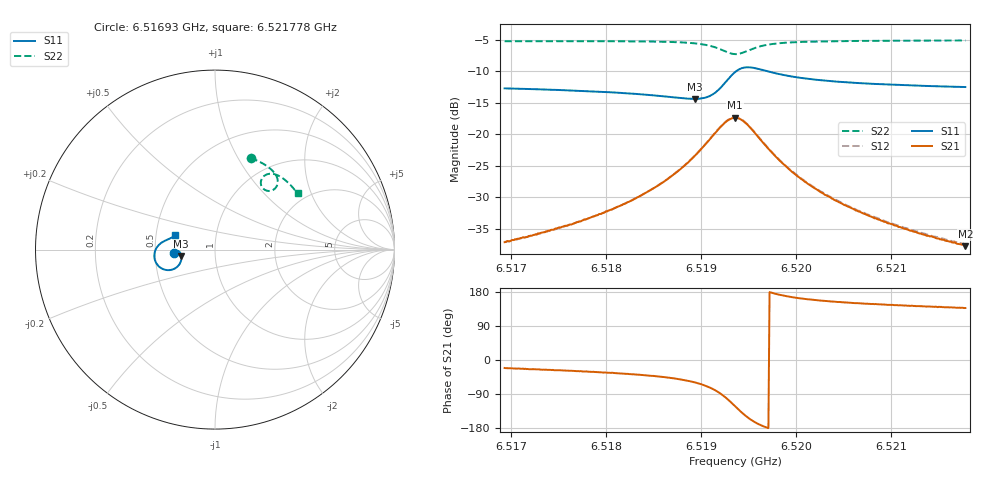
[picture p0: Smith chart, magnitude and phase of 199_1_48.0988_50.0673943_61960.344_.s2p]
#  HZ  S  RI  R  50.00
! Rohde & Schwarz Vector Network Analyzer
! Rohde-Schwarz,ZNB20-2Port,1311601062101988,3.16
! Created: UTC 12/23/2023, 3:54:33 AM
! freq[Hz]  re:S11  im:S11  re:S21  im:S21  re:S12  im:S12  re:S22  im:S22
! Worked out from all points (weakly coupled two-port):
!   401 points, 6.51693 GHz to 6.521778 GHz, reference 50 ohm
!   highest |S21| = -17.39 dB at 6.519354 GHz (marker M1); lowest = -37.8 dB at 6.521778 GHz (marker M2)
!   lowest |S11| = -14.4 dB at 6.51893 GHz (marker M3), VSWR 1.47, Z = 34.1 - j2.47 ohm
!   |S11| at or under -10 dB: start of sweep to 6.519365 GHz; 6.519697 GHz to end of sweep
!   |S22| runs from -7.3 to -5.1 dB; largest |S21 - S12| = 0.0042
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6.5169298e9  -0.2307 -0.0184  0.0129 -0.00498  0.0132 -0.00463  0.1982 0.5111
6.5173055e9  -0.2269 -0.0127  0.0148 -0.00703  0.0149 -0.0064  0.226 0.4998
6.5177419e9  -0.2208 -0.00748  0.0178 -0.0102  0.0182 -0.00965  0.2583 0.484
6.5182025e9  -0.2119 -0.00509  0.0227 -0.0167  0.0233 -0.016  0.2929 0.4625
6.518554e9  -0.2017 -0.00926  0.0285 -0.0273  0.0296 -0.0265  0.32 0.44
6.51876e9  -0.1938 -0.0183  0.0327 -0.0396  0.0341 -0.0387  0.3357 0.4208
6.5189297e9  -0.1877 -0.0349  0.0346 -0.0576  0.0366 -0.0568  0.347 0.3976
6.5190388e9  -0.1873 -0.054  0.0315 -0.0761  0.0341 -0.0757  0.3497 0.3768
6.5191236e9  -0.1943 -0.0751  0.0223 -0.0953  0.0254 -0.0953  0.3453 0.3565
6.519257e9  -0.2358 -0.1106  -0.0202 -0.1236  -0.0169 -0.125  0.3134 0.3283
6.5193054e9  -0.2632 -0.1144  -0.0456 -0.1242  -0.0422 -0.1264  0.2938 0.3272
6.5193539e9  -0.2926 -0.1073  -0.0711 -0.1148  -0.0682 -0.1178  0.2746 0.3351
6.5194024e9  -0.3172 -0.0891  -0.091 -0.0962  -0.0889 -0.0998  0.2607 0.3507
6.519463e9  -0.3347 -0.0582  -0.1032 -0.0675  -0.1019 -0.0712  0.2553 0.3743
6.5195721e9  -0.334 -0.00887  -0.0972 -0.0254  -0.0973 -0.0285  0.2697 0.4066
6.5196812e9  -0.3179 0.0203  -0.0804 -0.00313  -0.0809 -0.00567  0.2922 0.4203
6.5199115e9  -0.2877 0.0449  -0.0524 0.0115  -0.0532 0.01  0.331 0.4205
6.520166e9  -0.2676 0.0543  -0.0358 0.0137  -0.0365 0.0128  0.36 0.4086
6.5205175e9  -0.2515 0.0611  -0.024 0.0128  -0.0247 0.0123  0.3888 0.3891
6.5209781e9  -0.2386 0.0678  -0.0162 0.011  -0.0167 0.0109  0.4185 0.362
6.5214266e9  -0.2295 0.074  -0.0119 0.00972  -0.0122 0.00955  0.4429 0.3346
6.521778e9  -0.2237 0.0789  -0.00946 0.00876  -0.0101 0.00878  0.4598 0.3129
